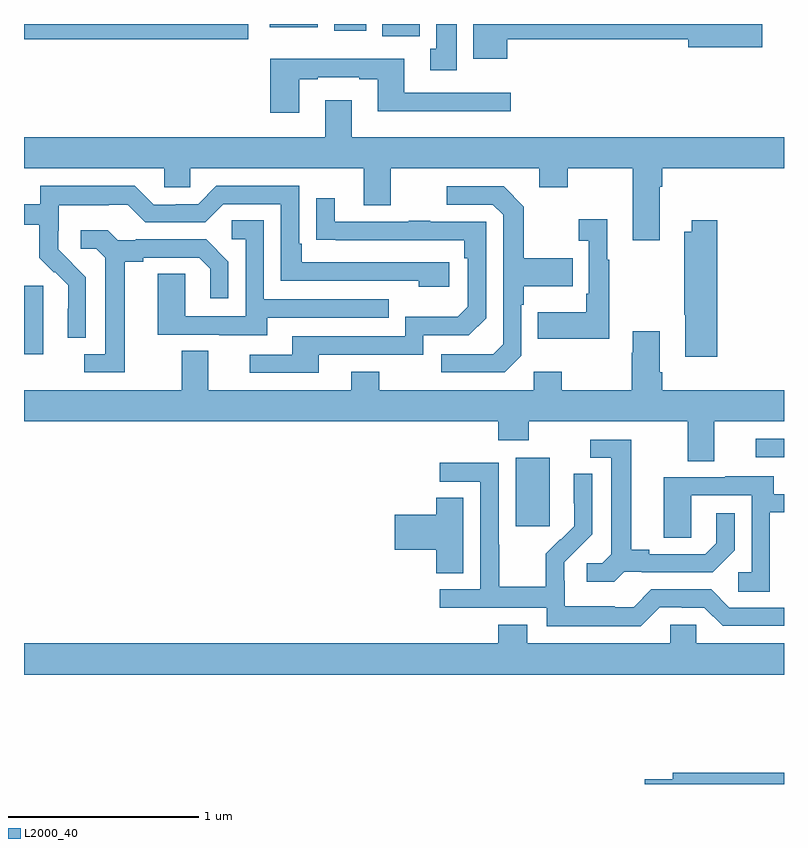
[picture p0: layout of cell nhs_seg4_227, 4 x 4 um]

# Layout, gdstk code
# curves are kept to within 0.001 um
import gdstk
lib = gdstk.Library(unit=1e-6, precision=1e-09)
def R(c, l, rs):  # rectangles x0, y0, x1, y1
    for r in rs: c.add(gdstk.rectangle(r[:2], r[2:], *l))
def P(c, l, *ps):  # polygons
    for p in ps: c.add(gdstk.Polygon(p, *l))
L2000_40 = (2000, 40)

nhs_seg4_227 = lib.new_cell('nhs_seg4_227')
R(nhs_seg4_227, L2000_40, [(123.587,808.257,123.766,808.618), (124.851,808.62,125,808.716), (121,809.162,121.102,809.523), (121,810.82,122.181,810.9), (122.885,810.836,123.082,810.9), (122.633,810.864,122.8,810.9), (122.294,810.884,122.545,810.9)])
P(nhs_seg4_227, L2000_40, [(123.277,810.9),(123.17,810.9),(123.17,810.77),(123.137,810.77),(123.137,810.657),(123.277,810.657)],
  [(123.544,810.82),(124.496,810.82),(124.496,810.778),(124.885,810.778),(124.885,810.9),(123.365,810.9),(123.365,810.716),(123.544,810.716)],
  [(122.449,810.609),(122.545,810.609),(122.545,810.621),(122.765,810.621),(122.765,810.609),(122.861,810.609),(122.861,810.44),(123.562,810.44),(123.562,810.537),(123.001,810.537),(123.001,810.718),(122.297,810.718),(122.297,810.432),(122.449,810.432)],
  [(124.345,810.044),(124.358,810.044),(124.358,810.14),(125,810.14),(125,810.304),(122.725,810.304),(122.725,810.499),(122.585,810.499),(122.585,810.304),(121,810.304),(121,810.14),(121.737,810.14),(121.737,810.042),(121.875,810.042),(121.875,810.14),(122.789,810.14),(122.789,809.946),(122.929,809.946),(122.929,810.14),(123.713,810.14),(123.713,810.041),(123.861,810.041),(123.861,810.14),(124.205,810.14),(124.205,809.763),(124.345,809.763)],
  [(121.326,809.566),(121.18,809.714),(121.18,809.811),(121.182,809.811),(121.182,809.945),(121.445,809.945),(121.445,809.949),(121.545,809.949),(121.638,809.856),(121.953,809.856),(122.049,809.952),(122.352,809.952),(122.352,809.55),(123.077,809.55),(123.077,809.516),(123.238,809.516),(123.238,809.646),(122.461,809.646),(122.461,809.743),(122.448,809.743),(122.448,810.048),(122.013,810.048),(121.917,809.952),(121.799,809.952),(121.799,809.949),(121.683,809.949),(121.583,810.049),(121.086,810.049),(121.086,809.952),(121,809.952),(121,809.844),(121.081,809.844),(121.081,809.669),(121.158,809.592),(121.161,809.595),(121.232,809.525),(121.232,809.402),(121.23,809.402),(121.23,809.248),(121.326,809.248)],
  [(123.618,809.154),(123.618,809.423),(123.631,809.423),(123.631,809.519),(123.887,809.519),(123.887,809.667),(123.631,809.667),(123.631,809.939),(123.525,810.045),(123.225,810.045),(123.225,809.949),(123.468,809.949),(123.522,809.895),(123.522,809.214),(123.471,809.163),(123.195,809.163),(123.195,809.067),(123.531,809.067)],
  [(122.551,809.16),(123.102,809.16),(123.102,809.262),(123.342,809.262),(123.432,809.352),(123.432,809.859),(123.137,809.859),(123.137,809.864),(123.025,809.864),(123.025,809.859),(122.635,809.859),(122.635,809.983),(122.539,809.983),(122.539,809.764),(123.316,809.763),(123.316,809.666),(123.336,809.666),(123.336,809.412),(123.283,809.359),(123.006,809.359),(123.006,809.256),(122.411,809.256),(122.411,809.16),(122.187,809.16),(122.187,809.064),(122.551,809.064)],
  [(124.081,809.659),(124.069,809.659),(124.069,809.872),(123.921,809.872),(123.921,809.759),(123.972,809.759),(123.972,809.479),(123.96,809.479),(123.96,809.383),(123.703,809.383),(123.703,809.243),(124.081,809.243)],
  [(122.281,809.355),(122.921,809.355),(122.921,809.451),(122.262,809.451),(122.262,809.867),(122.094,809.867),(122.094,809.766),(122.166,809.766),(122.166,809.361),(121.848,809.361),(121.848,809.585),(121.703,809.585),(121.703,809.265),(122.027,809.265),(122.027,809.261),(122.281,809.261)],
  [(124.649,809.866),(124.514,809.866),(124.514,809.806),(124.474,809.806),(124.474,809.371),(124.481,809.371),(124.481,809.148),(124.649,809.148)],
  [(121.531,809.648),(121.627,809.648),(121.627,809.67),(121.922,809.67),(121.979,809.613),(121.979,809.457),(122.076,809.457),(122.076,809.65),(121.96,809.766),(121.588,809.766),(121.588,809.763),(121.494,809.763),(121.442,809.815),(121.299,809.815),(121.299,809.718),(121.38,809.718),(121.427,809.671),(121.427,809.163),(121.317,809.163),(121.317,809.067),(121.531,809.067)],
  [(124.633,808.808),(125,808.808),(125,808.972),(124.358,808.972),(124.358,809.068),(124.345,809.068),(124.345,809.284),(124.205,809.284),(124.205,809.171),(124.198,809.171),(124.198,808.972),(123.831,808.972),(123.831,809.071),(123.684,809.071),(123.684,808.972),(122.871,808.972),(122.871,809.071),(122.723,809.071),(122.723,808.972),(121.969,808.972),(121.969,809.18),(121.829,809.18),(121.829,808.972),(121,808.972),(121,808.808),(123.497,808.808),(123.497,808.709),(123.657,808.709),(123.657,808.808),(124.493,808.808),(124.493,808.6),(124.633,808.6)],
  [(124.158,808.017),(124.252,808.017),(124.252,808.014),(124.624,808.014),(124.74,808.13),(124.74,808.324),(124.643,808.324),(124.643,808.167),(124.586,808.11),(124.291,808.11),(124.291,808.133),(124.195,808.133),(124.195,808.713),(123.981,808.713),(123.981,808.617),(124.091,808.617),(124.091,808.109),(124.044,808.062),(123.963,808.062),(123.963,807.965),(124.106,807.965)],
  [(124.347,807.831),(124.463,807.831),(124.463,807.828),(124.581,807.828),(124.677,807.732),(125,807.732),(125,807.828),(124.713,807.828),(124.617,807.924),(124.302,807.924),(124.209,807.831),(124.109,807.831),(124.109,807.835),(123.846,807.835),(123.846,807.969),(123.844,807.969),(123.844,808.066),(123.99,808.214),(123.99,808.532),(123.894,808.532),(123.894,808.378),(123.896,808.378),(123.896,808.256),(123.825,808.185),(123.822,808.188),(123.745,808.111),(123.745,807.937),(123.501,807.937),(123.501,808.16),(123.498,808.16),(123.498,808.59),(123.189,808.59),(123.189,808.491),(123.402,808.491),(123.402,807.924),(123.189,807.924),(123.189,807.828),(123.75,807.828),(123.75,807.731),(124.247,807.731)],
  [(124.926,808.329),(125,808.329),(125,808.425),(124.945,808.425),(124.945,808.519),(124.691,808.519),(124.691,808.515),(124.367,808.515),(124.367,808.195),(124.512,808.195),(124.512,808.419),(124.83,808.419),(124.83,808.014),(124.758,808.014),(124.758,807.913),(124.926,807.913)],
  [(123.313,808.406),(123.17,808.406),(123.17,808.316),(122.952,808.316),(122.952,808.133),(123.17,808.133),(123.17,808.009),(123.313,808.009)],
  [(125,807.64),(124.539,807.64),(124.539,807.738),(124.401,807.738),(124.401,807.64),(123.649,807.64),(123.649,807.739),(123.497,807.739),(123.497,807.64),(121,807.64),(121,807.476),(125,807.476)],
  [(125,806.96),(124.415,806.96),(124.415,806.924),(124.266,806.924),(124.266,806.9),(125,806.9)])

lib.write_gds('nhs_seg4_227.gds')
